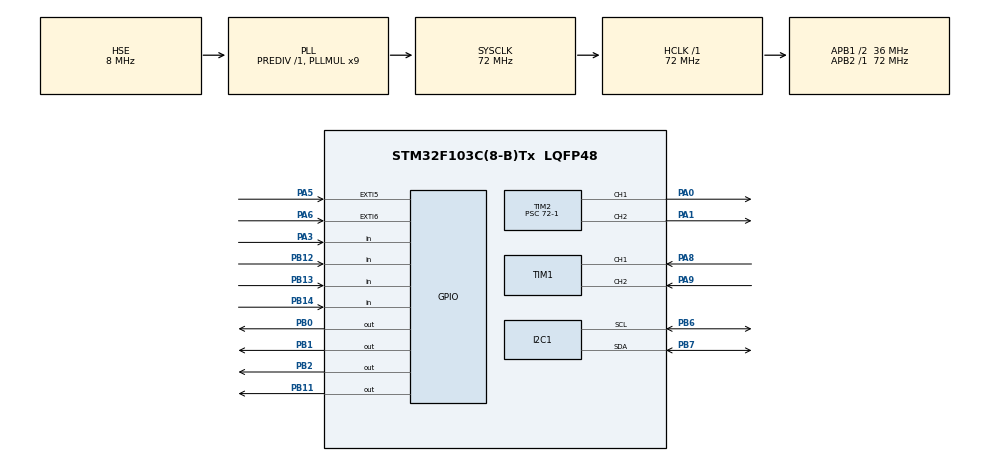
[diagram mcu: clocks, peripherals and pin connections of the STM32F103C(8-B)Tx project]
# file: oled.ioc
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I2C1.I2C_Mode=I2C_Fast
Mcu.Family=STM32F1
Mcu.Name=STM32F103C(8-B)Tx
Mcu.Package=LQFP48
NVIC.EXTI9_5_IRQn=true\:0\:0\:false\:false\:true\:true\:true\:true
NVIC.PriorityGroup=NVIC_PRIORITYGROUP_4
PA0-WKUP.Signal=S_TIM2_CH1_ETR
PA1.Signal=S_TIM2_CH2
PA13.Mode=Serial_Wire
PA13.Signal=SYS_JTMS-SWDIO
PA14.Mode=Serial_Wire
PA14.Signal=SYS_JTCK-SWCLK
PA3.GPIO_PuPd=GPIO_PULLUP
PA3.Signal=GPIO_Input
PA5.Signal=GPXTI5
PA6.GPIO_ModeDefaultEXTI=GPIO_MODE_IT_RISING
PA6.GPIO_PuPd=GPIO_PULLUP
PA6.Signal=GPXTI6
PA8.Signal=S_TIM1_CH1
PA9.Signal=S_TIM1_CH2
PB0.Signal=GPIO_Output
PB1.Signal=GPIO_Output
PB11.Signal=GPIO_Output
PB12.GPIO_PuPd=GPIO_PULLUP
PB12.Signal=GPIO_Input
PB13.GPIO_PuPd=GPIO_NOPULL
PB13.Signal=GPIO_Input
PB14.GPIO_PuPd=GPIO_PULLUP
PB14.Signal=GPIO_Input
PB2.Signal=GPIO_Output
PB6.Mode=I2C
PB6.Signal=I2C1_SCL
PB7.Mode=I2C
PB7.Signal=I2C1_SDA
PD0-OSC_IN.Mode=HSE-External-Oscillator
PD0-OSC_IN.Signal=RCC_OSC_IN
PD1-OSC_OUT.Mode=HSE-External-Oscillator
PD1-OSC_OUT.Signal=RCC_OSC_OUT
ProjectManager.HeapSize=0x200
ProjectManager.StackSize=0x400
ProjectManager.TargetToolchain=MDK-ARM V5.32
RCC.AHBFreq_Value=72000000
RCC.APB1CLKDivider=RCC_HCLK_DIV2
RCC.APB1Freq_Value=36000000
RCC.APB1TimFreq_Value=72000000
RCC.APB2Freq_Value=72000000
RCC.APB2TimFreq_Value=72000000
RCC.HCLKFreq_Value=72000000
RCC.PLLMUL=RCC_PLL_MUL9
RCC.PLLSourceVirtual=RCC_PLLSOURCE_HSE
RCC.SYSCLKFreq_VALUE=72000000
RCC.SYSCLKSource=RCC_SYSCLKSOURCE_PLLCLK
RCC.USBFreq_Value=72000000
SH.S_TIM1_CH1.0=TIM1_CH1,Encoder_Interface
SH.S_TIM1_CH2.0=TIM1_CH2,Encoder_Interface
SH.S_TIM2_CH1_ETR.0=TIM2_CH1,PWM Generation1 CH1
SH.S_TIM2_CH2.0=TIM2_CH2,PWM Generation2 CH2
TIM1.IC2Polarity=TIM_ICPOLARITY_FALLING
TIM2.Channel-PWM\ Generation1\ CH1=TIM_CHANNEL_1
TIM2.Channel-PWM\ Generation2\ CH2=TIM_CHANNEL_2
TIM2.Period=100-1
TIM2.Prescaler=72-1
TIM4.Period=2000-1
TIM4.Prescaler=720-1
VP_TIM2_VS_ClockSourceINT.Mode=Internal
VP_TIM4_VS_ClockSourceINT.Mode=Internal
board=custom

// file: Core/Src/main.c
/* USER CODE BEGIN Header */
/**
  ******************************************************************************
  * @file           : main.c
  * @brief          : Main program body - Smart Car Line Tracking & Following
  ******************************************************************************
  * @attention
  *
  * Copyright (c) 2026 STMicroelectronics.
  * All rights reserved.
  *
  * This software is licensed under terms that can be found in the LICENSE file
  * in the root directory of this software component.
  * If no LICENSE file comes with this software component, it is provided AS-IS.
  *
  ******************************************************************************
  */
/* USER CODE END Header */
#include "main.h"
#include "i2c.h"
#include "tim.h"
#include "gpio.h"

/* USER CODE BEGIN Includes */
#include <stdio.h>
#include "tb6612.h"
#include "ec11.h"
#include "oled.h"
#include "vl53l0x.h"
#include "ir_tracking.h"
#include "pid.h"
#include "speed_sensor.h"
/* USER CODE END Includes */

/* USER CODE BEGIN PTD */
typedef enum {
    MODE_STOP = 0,
    MODE_LINE_TRACK_ONLY,
    MODE_DISTANCE_FOLLOW_ONLY,
    MODE_LINE_TRACK_DISTANCE_FOLLOW
} CarMode_TypeDef;
/* USER CODE END PTD */

/* USER CODE BEGIN PD */
#define ENCODER_SPEED_STEP        3
#define TARGET_SPEED_MIN           0
#define TARGET_SPEED_MAX           100

#define LINE_TRACK_KP             8.0f
#define LINE_TRACK_KI             0.0f
#define LINE_TRACK_KD             20.0f
#define LINE_TRACK_INTEGRAL_LIMIT 50.0f
#define LINE_TRACK_OUTPUT_LIMIT   40.0f

#define DISTANCE_TARGET_CM        20.0f
#define DISTANCE_KP               4.0f   // 增大KP，响应更快
#define DISTANCE_KI               0.05f  // 稍微增大KI
#define DISTANCE_KD               1.5f   // 增大KD，减少震荡
#define DISTANCE_INTEGRAL_LIMIT   30.0f
#define DISTANCE_OUTPUT_LIMIT     50.0f  // 增大输出限幅

#define DISPLAY_UPDATE_INTERVAL_MS 100

#define WHEEL_DIAMETER_CM           6.5f
#define WHEEL_CIRCUMFERENCE_CM      (3.14159f * WHEEL_DIAMETER_CM)
#define HOLES_PER_DISK              20
#define CM_PER_PULSE                (WHEEL_CIRCUMFERENCE_CM / (float)HOLES_PER_DISK)

#define SPEED_PID_DEADBAND_PERCENT  3.0f
#define SPEED_PID_INTEGRAL_LIMIT    30.0f
#define SPEED_PID_OUTPUT_LIMIT       40.0f
/* USER CODE END PD */

/* USER CODE BEGIN PV */
TB6612_DualHandleTypeDef hMotors;
EC11_HandleTypeDef hEncoder;
SpeedSensor_HandleTypeDef hSpeedSensorLeft;
SpeedSensor_HandleTypeDef hSpeedSensorRight;
VL53L0X_HandleTypeDef hLaser;
OLED_HandleTypeDef hOLED;
IR_TrackSensor_ArrayHandleTypeDef hTrackSensor;

PID_HandleTypeDef pidLineTrack;
PID_HandleTypeDef pidDistance;

volatile int16_t target_speed = 50;
volatile int8_t left_motor_speed = 0;
volatile int8_t right_motor_speed = 0;

volatile uint8_t laser_valid = 0;
volatile uint16_t laser_distance_mm = 0;

volatile uint8_t track_pattern = 0;
volatile float line_track_correction = 0.0f;
volatile float distance_correction = 0.0f;
volatile float speed_diff_correction = 0.0f;

#define SPEED_DIFF_LIMIT   5.0f
#define SPEED_DIFF_KP      2.0f

#define RIGHT_MOTOR_COMPENSATION  10  // 静�?�补偿基准�??
#define SPEED_COMPENSATION_SCALE  0.3f  // 速度补偿系数

char dist_str[20] = "Dist:INIT";
char speed_str[24] = "L:  0% R:  0%";
char left_spd_str[16] = "Lft:0.0 cm/s  ";
char right_spd_str[16] = "Rgt:0.0 cm/s  ";
char track_str[12] = "Trk:000";
char mode_str[10] = "MODE:NORM";
char target_str[12] = "T:  0";

volatile CarMode_TypeDef current_mode = MODE_STOP;
volatile CarMode_TypeDef target_mode = MODE_STOP;
volatile uint32_t mode_transition_start = 0;
volatile int8_t transition_target_speed = 0;
volatile int8_t transition_left_speed = 0;
volatile int8_t transition_right_speed = 0;
/* USER CODE END PV */

void SystemClock_Config(void);
/* USER CODE BEGIN PFP */
void SystemClock_Config(void);
void NVIC_Init_Priorities(void);

static void Hardware_Init(void);
static void App_Loop(void);

void Control_Task_10ms(void);
void Motor_Apply_Speed(int8_t left, int8_t right);
void Encoder_Update_TargetSpeed(void);
void Laser_Update_Distance(void);
void LineTracking_Correct(int8_t* left_speed, int8_t* right_speed);
void Distance_PID_Compute(void);
float Speed_Diff_Correct(float left_spd, float right_spd);
void Mode_Switch(void);
void Mode_Transition_Process(void);
void App_Process_Button(void);
/* USER CODE END PFP */

/* USER CODE BEGIN 0 */

/**
  * @brief Hardware initialization
  */
static void Hardware_Init(void)
{
    HAL_Delay(100);

    OLED_Init(&hOLED, &hi2c1);

    TB6612_DualInit(&hMotors,
                    GPIOB, GPIO_PIN_0,   GPIOB, GPIO_PIN_1,   &htim2, TIM_CHANNEL_2,
                    GPIOB, GPIO_PIN_2,   GPIOB, GPIO_PIN_3,   &htim2, TIM_CHANNEL_1);
    TB6612_DualStart(&hMotors);

    EC11_Init(&hEncoder, &htim1);
    EC11_Start(&hEncoder);

    SpeedSensor_Init(&hSpeedSensorLeft, GPIOA, GPIO_PIN_6, 1, 1);
    SpeedSensor_Init(&hSpeedSensorRight, GPIOA, GPIO_PIN_5, 1, 1);

    IR_TrackSensor_ArrayInit(&hTrackSensor,
                              GPIOB, GPIO_PIN_14,
                              GPIOB, GPIO_PIN_12,
                              GPIOB, GPIO_PIN_13);

    PID_Init(&pidLineTrack,
             LINE_TRACK_KP, LINE_TRACK_KI, LINE_TRACK_KD,
             LINE_TRACK_INTEGRAL_LIMIT, LINE_TRACK_OUTPUT_LIMIT);

    PID_Init(&pidDistance,
             DISTANCE_KP, DISTANCE_KI, DISTANCE_KD,
             DISTANCE_INTEGRAL_LIMIT, DISTANCE_OUTPUT_LIMIT);

    if (VL53L0X_Init(&hLaser, &hi2c1, GPIOB, GPIO_PIN_11) != HAL_OK) {
        sprintf(dist_str, "Dist:FAIL");
    }

    NVIC_Init_Priorities();
    HAL_TIM_Base_Start_IT(&htim4);

    target_speed = 50;
    left_motor_speed = 50;
    right_motor_speed = 50;
    TB6612_DualSetSpeed(&hMotors, 50, 50);

    HAL_Delay(1);
}

/**
  * @brief Main application loop - Display update only (runs at ~20Hz)
  * All real-time control runs in TIM4 10ms interrupt
  */
static void App_Loop(void)
{
    static uint32_t last_display_time = 0;
    static uint32_t last_laser_read_time = 0;
    uint32_t now = HAL_GetTick();

    Encoder_Update_TargetSpeed();
    App_Process_Button();

    IR_TrackSensor_ArrayUpdate(&hTrackSensor);
    track_pattern = IR_TrackSensor_ArrayGetPattern(&hTrackSensor);

    // 只在需要跟车的时候读，而且每100ms读一次就够
    if ((current_mode == MODE_DISTANCE_FOLLOW_ONLY || current_mode == MODE_LINE_TRACK_DISTANCE_FOLLOW) &&
        (now - last_laser_read_time >= 100))
    {
        Laser_Update_Distance();
        last_laser_read_time = now;
    }

    if (now - last_display_time >= DISPLAY_UPDATE_INTERVAL_MS) {
        last_display_time = now;

        OLED_NewFrame(&hOLED);

        sprintf(dist_str, "Dist:%5dmm", laser_distance_mm);
        OLED_PrintASCIIString(&hOLED, 0, 0, dist_str, &afont8x6, OLED_COLOR_NORMAL);

        sprintf(speed_str, "L:%3d%% R:%3d%%", left_motor_speed, right_motor_speed);
        OLED_PrintASCIIString(&hOLED, 0, 10, speed_str, &afont8x6, OLED_COLOR_NORMAL);

        sprintf(speed_str, "L:%4.1f R:%4.1f", hSpeedSensorLeft.speed_cm_s, hSpeedSensorRight.speed_cm_s);
        OLED_PrintASCIIString(&hOLED, 0, 22, speed_str, &afont8x6, OLED_COLOR_NORMAL);

        if (current_mode == MODE_STOP) {
            sprintf(mode_str, "STOP  ");
        } else if (current_mode == MODE_LINE_TRACK_ONLY) {
            sprintf(mode_str, "TRACK ");
        } else if (current_mode == MODE_DISTANCE_FOLLOW_ONLY) {
            sprintf(mode_str, "FOLLOW");
        } else {
            sprintf(mode_str, "TRK+F ");
        }
        OLED_PrintASCIIString(&hOLED, 0, 32, mode_str, &afont8x6, OLED_COLOR_NORMAL);

        uint8_t left_sensor = (track_pattern & IR_TRACK_PATTERN_LEFT) ? 1 : 0;
        uint8_t middle_sensor = (track_pattern & IR_TRACK_PATTERN_MIDDLE) ? 1 : 0;
        uint8_t right_sensor = (track_pattern & IR_TRACK_PATTERN_RIGHT) ? 1 : 0;

        if (left_sensor) {
            OLED_DrawFilledCircle(&hOLED, 50, 46, 4, OLED_COLOR_NORMAL);
        } else {
            OLED_DrawCircle(&hOLED, 50, 46, 4, OLED_COLOR_NORMAL);
        }

        if (middle_sensor) {
            OLED_DrawFilledCircle(&hOLED, 75, 46, 4, OLED_COLOR_NORMAL);
        } else {
            OLED_DrawCircle(&hOLED, 75, 46, 4, OLED_COLOR_NORMAL);
        }

        if (right_sensor) {
            OLED_DrawFilledCircle(&hOLED, 100, 46, 4, OLED_COLOR_NORMAL);
        } else {
            OLED_DrawCircle(&hOLED, 100, 46, 4, OLED_COLOR_NORMAL);
        }

        uint32_t left_pulses = SpeedSensor_GetPulseCount(&hSpeedSensorLeft);
        uint32_t right_pulses = SpeedSensor_GetPulseCount(&hSpeedSensorRight);
        char pulse_str[24];
        sprintf(pulse_str, "L:%5lu R:%5lu", left_pulses, right_pulses);
        OLED_PrintASCIIString(&hOLED, 0, 56, pulse_str, &afont8x6, OLED_COLOR_NORMAL);

        OLED_ShowFrame(&hOLED);
    }

    HAL_Delay(10);
}

/**
  * @brief Read EC11 encoder delta and update target speed
  * Called from main loop (not time-critical)
  */
void Encoder_Update_TargetSpeed(void)
{
    int16_t enc_delta = EC11_GetDelta(&hEncoder);

    if (enc_delta != 0) {
        target_speed += enc_delta * ENCODER_SPEED_STEP;

        if (target_speed < TARGET_SPEED_MIN) target_speed = TARGET_SPEED_MIN;
        if (target_speed > TARGET_SPEED_MAX) target_speed = TARGET_SPEED_MAX;
    }
}

/**
  * @brief Read VL53L0X laser distance sensor
  * Called from main loop (I2C is slow, don't run in ISR)
  */
void Laser_Update_Distance(void)
{
    if (VL53L0X_ReadDistance(&hLaser) == HAL_OK) {
        if (VL53L0X_IsValid(&hLaser)) {
            laser_distance_mm = VL53L0X_GetDistance(&hLaser);
            laser_valid = 1;
            sprintf(dist_str, "Dist:%4dmm", laser_distance_mm);
        } else {
            laser_valid = 0;
        }
    }
}

/**
  * @brief 10ms control task - called from TIM4 ISR
  * This is the core control loop running at 100Hz
  * Mode-based control:
  *   MODE_STOP: Stop car
  *   MODE_LINE_TRACK_ONLY: Line tracking only, ignore laser
  *   MODE_DISTANCE_FOLLOW_ONLY: Distance following only, ignore IR
  *   MODE_LINE_TRACK_DISTANCE_FOLLOW: Both line tracking and distance following
  */
void Control_Task_10ms(void)
{
    Mode_Transition_Process();

    // 更新速度
    SpeedSensor_UpdateSpeed(&hSpeedSensorLeft, CM_PER_PULSE);
    SpeedSensor_UpdateSpeed(&hSpeedSensorRight, CM_PER_PULSE);

    if (current_mode == MODE_STOP) {
        Motor_Apply_Speed(0, 0);
        return;
    }

    int8_t base_speed = (int8_t)target_speed;

    int8_t left_out = base_speed;
    int8_t right_out = base_speed;

    if (current_mode == MODE_DISTANCE_FOLLOW_ONLY || current_mode == MODE_LINE_TRACK_DISTANCE_FOLLOW) {
        Distance_PID_Compute();
        left_out += (int8_t)distance_correction;
        right_out += (int8_t)distance_correction;
    } else {
        PID_Reset(&pidDistance);
        distance_correction = 0.0f;
    }

    if (current_mode == MODE_LINE_TRACK_ONLY || current_mode == MODE_LINE_TRACK_DISTANCE_FOLLOW) {
        LineTracking_Correct(&left_out, &right_out);
    }

    float left_spd = hSpeedSensorLeft.speed_cm_s;
    float right_spd = hSpeedSensorRight.speed_cm_s;
    float speed_diff = left_spd - right_spd;
    if (speed_diff > SPEED_DIFF_LIMIT) speed_diff = SPEED_DIFF_LIMIT;
    if (speed_diff < -SPEED_DIFF_LIMIT) speed_diff = -SPEED_DIFF_LIMIT;
    speed_diff_correction = speed_diff * SPEED_DIFF_KP;

    left_out += (int8_t)speed_diff_correction;
    right_out -= (int8_t)speed_diff_correction;

    if (left_out > 100) left_out = 100;
    if (left_out < -100) left_out = -100;
    if (right_out > 100) right_out = 100;
    if (right_out < -100) right_out = -100;

    Motor_Apply_Speed(left_out, right_out);
}

/**
  * @brief Pure PID line-tracking correction
  * Error coding:
  *   left=1, middle=0, right=0 → error=-2
  *   left=1, middle=1, right=0 → error=-1
  *   left=0, middle=1, right=0 → error=0
  *   left=0, middle=1, right=1 → error=1
  *   left=0, middle=0, right=1 → error=2
  */
void LineTracking_Correct(int8_t* left_speed, int8_t* right_speed)
{
    uint8_t left_detected = (track_pattern & IR_TRACK_PATTERN_LEFT) ? 1 : 0;
    uint8_t middle_detected = (track_pattern & IR_TRACK_PATTERN_MIDDLE) ? 1 : 0;
    uint8_t right_detected = (track_pattern & IR_TRACK_PATTERN_RIGHT) ? 1 : 0;

    uint8_t is_going_straight = 0;
    float error = 0.0f;

    if (left_detected == 1 && middle_detected == 0 && right_detected == 0) {
        error = -1.0f;
    } else if (left_detected == 1 && middle_detected == 1 && right_detected == 0) {
        error = -2.0f;
    } else if (left_detected == 0 && middle_detected == 1 && right_detected == 0) {
        error = 0.0f;
        is_going_straight = 1;
    } else if (left_detected == 0 && middle_detected == 1 && right_detected == 1) {
        error = 2.0f;
    } else if (left_detected == 0 && middle_detected == 0 && right_detected == 1) {
        error = 1.0f;
    } else if (left_detected == 1 && middle_detected == 0 && right_detected == 1) {
        error = 0.0f;
        is_going_straight = 1;
    } else if (left_detected == middle_detected && middle_detected == right_detected) {
        error = 0.0f;
        is_going_straight = 1;
    }

    if (is_going_straight) {
        PID_Reset(&pidLineTrack);
    } else {
        float correction = PID_Calc(&pidLineTrack, 0.0f, error);
        *left_speed -= (int8_t)correction;
        *right_speed += (int8_t)correction;
    }
}

/**
 * @brief Laser distance following PID computation
 * Logic: Near (distance < target) -> slow down, Far (distance > target) -> speed up
 * When laser returns valid distance, adjust speed to maintain target distance
 * When invalid, car runs at encoder-set target speed (normal mode)
 */
void Distance_PID_Compute(void)
{
    if (!laser_valid || laser_distance_mm == 0) {
        PID_Reset(&pidDistance);
        distance_correction = 0.0f;
        return;
    }

    float current_dist_cm = (float)laser_distance_mm / 10.0f;

    distance_correction = -PID_Calc(&pidDistance, DISTANCE_TARGET_CM, current_dist_cm);
}

void Motor_Apply_Speed(int8_t left, int8_t right)
{
    int8_t left_out = left;
    int8_t right_out = right;

    if (left_out > 100) left_out = 100;
    if (left_out < -100) left_out = -100;
    if (right_out > 100) right_out = 100;
    if (right_out < -100) right_out = -100;

    left_motor_speed = left_out;
    right_motor_speed = right_out;

    TB6612_DualSetSpeed(&hMotors, left_out, right_out);
}

/**
  * @brief Speed difference correction based on photointerrupter readings
  * This is the ONLY authoritative source for straight-line determination
  * If left_speed == right_speed -> go straight, no correction
  * If left_speed > right_speed -> steer right slightly
  * If left_speed < right_speed -> steer left slightly
  */
float Speed_Diff_Correct(float left_spd, float right_spd)
{
    static float integral = 0.0f;
    float error, output;
    float diff_kp = SPEED_DIFF_KP;
    float diff_ki = 0.05f;
    float diff_limit = SPEED_DIFF_LIMIT;

    error = right_spd - left_spd;

    integral += error * diff_ki;
    if (integral > diff_limit) integral = diff_limit;
    if (integral < -diff_limit) integral = -diff_limit;

    output = diff_kp * error + integral;

    if (output > diff_limit) output = diff_limit;
    if (output < -diff_limit) output = -diff_limit;

    return output;
}

/**
  * @brief Process button on PA3 to switch between modes
  * Button press: cycle through modes (with edge detection)
  */
#define MODE_BUTTON_PIN     GPIOA
#define MODE_BUTTON_PIN_NUM GPIO_PIN_3

void App_Process_Button(void)
{
    static uint32_t button_press_start = 0;
    static uint8_t button_was_pressed = 0;

    uint8_t button_state = HAL_GPIO_ReadPin(MODE_BUTTON_PIN, MODE_BUTTON_PIN_NUM);

    if (button_state == GPIO_PIN_RESET) {
        if (!button_was_pressed) {
            button_press_start = HAL_GetTick();
            button_was_pressed = 1;
        }

        if (HAL_GetTick() - button_press_start > 1000) {
            target_mode = MODE_STOP;
        }
    } else {
        if (button_was_pressed) {
            uint32_t press_duration = HAL_GetTick() - button_press_start;

            if (press_duration < 1000) {
                Mode_Switch();
            }
        }
        button_was_pressed = 0;
    }
}

/**
  * @brief Cycle through modes when button is pressed
  * Order: STOP -> LINE_TRACK_ONLY -> DISTANCE_FOLLOW_ONLY -> LINE_TRACK_DISTANCE_FOLLOW -> STOP
  */
void Mode_Switch(void)
{
    switch (target_mode) {
        case MODE_STOP:
            target_mode = MODE_LINE_TRACK_ONLY;
            break;
        case MODE_LINE_TRACK_ONLY:
            target_mode = MODE_DISTANCE_FOLLOW_ONLY;
            break;
        case MODE_DISTANCE_FOLLOW_ONLY:
            target_mode = MODE_LINE_TRACK_DISTANCE_FOLLOW;
            break;
        case MODE_LINE_TRACK_DISTANCE_FOLLOW:
        default:
            target_mode = MODE_STOP;
            break;
    }
}

/**
  * @brief Smooth transition between modes
  * Transition duration: 500ms, gradually adjust speed during transition
  */
#define MODE_TRANSITION_MS  500

void Mode_Transition_Process(void)
{
    if (current_mode != target_mode) {
        if (current_mode == MODE_STOP) {
            transition_target_speed = (int8_t)target_speed;
        } else {
            transition_target_speed = (left_motor_speed + right_motor_speed) / 2;
        }

        mode_transition_start = HAL_GetTick();
        current_mode = target_mode;

        PID_Reset(&pidLineTrack);
        PID_Reset(&pidDistance);

        if (current_mode == MODE_STOP) {
            Motor_Apply_Speed(0, 0);
        }
    }
}

/* USER CODE END 0 */

int main(void)
{

  /* MCU Configuration--------------------------------------------------------*/

  /* Reset of all peripherals, Initializes the Flash interface and the Systick. */
  HAL_Init();

  /* Configure the system clock */
  SystemClock_Config();

  /* Initialize all configured peripherals */
  MX_GPIO_Init();
  MX_I2C1_Init();
  MX_TIM1_Init();
  MX_TIM2_Init();
  MX_TIM4_Init();
  /* USER CODE BEGIN 2 */
  Hardware_Init();
  /* USER CODE END 2 */

  /* Infinite loop */
  while (1)
  {

    /* USER CODE BEGIN 3 */
    App_Loop();
  }
  /* USER CODE END 3 */
}

void SystemClock_Config(void)
{
  RCC_OscInitTypeDef RCC_OscInitStruct = {0};
  RCC_ClkInitTypeDef RCC_ClkInitStruct = {0};

  /** Initializes the RCC Oscillators according to the specified parameters
  * in the RCC_OscInitTypeDef structure.
  */
  RCC_OscInitStruct.OscillatorType = RCC_OSCILLATORTYPE_HSE;
  RCC_OscInitStruct.HSEState = RCC_HSE_ON;
  RCC_OscInitStruct.HSEPredivValue = RCC_HSE_PREDIV_DIV1;
  RCC_OscInitStruct.HSIState = RCC_HSI_ON;
  RCC_OscInitStruct.PLL.PLLState = RCC_PLL_ON;
  RCC_OscInitStruct.PLL.PLLSource = RCC_PLLSOURCE_HSE;
  RCC_OscInitStruct.PLL.PLLMUL = RCC_PLL_MUL9;
  if (HAL_RCC_OscConfig(&RCC_OscInitStruct) != HAL_OK)
  {
    Error_Handler();
  }

  /** Initializes the CPU, AHB and APB buses clocks
  */
  RCC_ClkInitStruct.ClockType = RCC_CLOCKTYPE_HCLK|RCC_CLOCKTYPE_SYSCLK
                              |RCC_CLOCKTYPE_PCLK1|RCC_CLOCKTYPE_PCLK2;
  RCC_ClkInitStruct.SYSCLKSource = RCC_SYSCLKSOURCE_PLLCLK;
  RCC_ClkInitStruct.AHBCLKDivider = RCC_SYSCLK_DIV1;
  RCC_ClkInitStruct.APB1CLKDivider = RCC_HCLK_DIV2;
  RCC_ClkInitStruct.APB2CLKDivider = RCC_HCLK_DIV1;

  if (HAL_RCC_ClockConfig(&RCC_ClkInitStruct, FLASH_LATENCY_2) != HAL_OK)
  {
    Error_Handler();
  }
}

void Error_Handler(void)
{
  __disable_irq();
  while (1)
  {
  }
}
